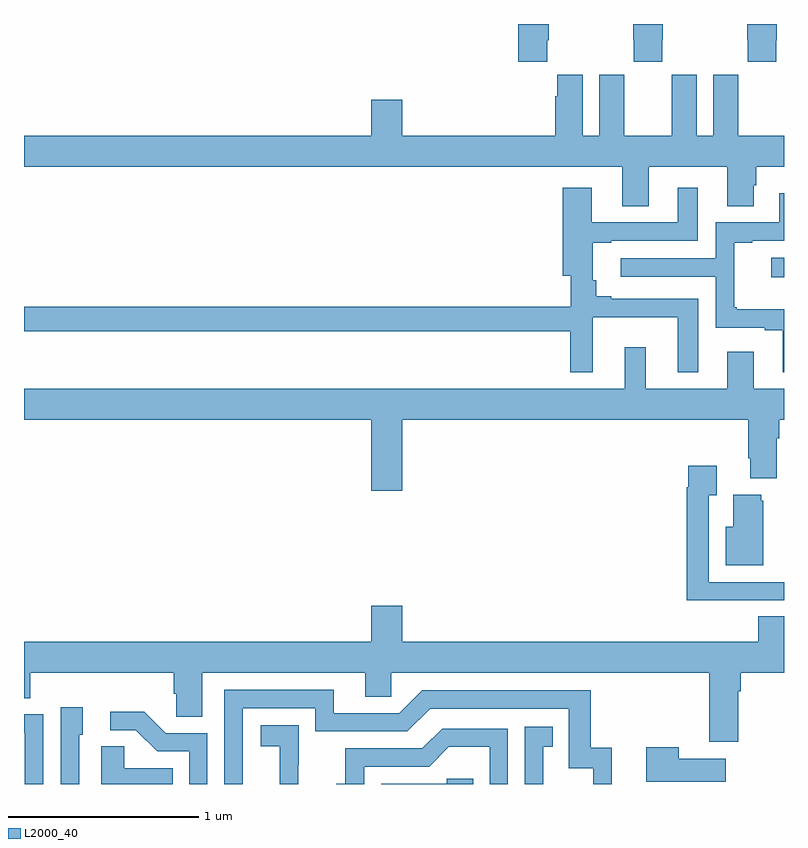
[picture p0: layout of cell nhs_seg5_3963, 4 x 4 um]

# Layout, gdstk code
import gdstk
lib = gdstk.Library(unit=1e-6, precision=1e-09)
def R(c, l, rs):  # rectangles x0, y0, x1, y1
    for r in rs: c.add(gdstk.rectangle(r[:2], r[2:], *l))
def P(c, l, *ps):  # polygons
    for p in ps: c.add(gdstk.Polygon(p, *l))
L2000_40 = (2000, 40)

nhs_seg5_3963 = lib.new_cell('nhs_seg5_3963')
R(nhs_seg5_3963, L2000_40, [(346.932,901.466,347,901.57)])
P(nhs_seg5_3963, L2000_40, [(345.755,902.713),(345.762,902.713),(345.762,902.799),(345.602,902.799),(345.602,902.601),(345.755,902.601)],
  [(346.359,902.713),(346.362,902.713),(346.362,902.799),(346.207,902.799),(346.207,902.713),(346.209,902.713),(346.209,902.601),(346.359,902.601)],
  [(346.959,902.713),(346.962,902.713),(346.962,902.799),(346.807,902.799),(346.807,902.713),(346.809,902.713),(346.809,902.601),(346.959,902.601)],
  [(346.148,901.84),(346.288,901.84),(346.288,902.048),(346.7,902.048),(346.7,901.84),(346.84,901.84),(346.84,901.95),(346.853,901.95),(346.853,902.048),(347,902.048),(347,902.212),(346.759,902.212),(346.759,902.42),(346.758,902.42),(346.758,902.533),(346.628,902.533),(346.628,902.212),(346.54,902.212),(346.54,902.533),(346.41,902.533),(346.41,902.42),(346.409,902.42),(346.409,902.212),(346.159,902.212),(346.159,902.42),(346.158,902.42),(346.158,902.533),(346.028,902.533),(346.028,902.212),(345.94,902.212),(345.94,902.533),(345.806,902.533),(345.806,902.42),(345.797,902.42),(345.797,902.212),(344.992,902.212),(344.992,902.401),(344.828,902.401),(344.828,902.212),(343,902.212),(343,902.048),(346.148,902.048)],
  [(345.994,901.256),(346.442,901.256),(346.442,900.965),(346.549,900.965),(346.549,901.353),(346.09,901.353),(346.09,901.366),(346.012,901.366),(346.012,901.45),(345.994,901.45),(345.994,901.647),(346.09,901.647),(346.09,901.659),(346.546,901.659),(346.546,901.936),(346.442,901.936),(346.442,901.755),(345.988,901.755),(345.988,901.936),(345.836,901.936),(345.836,901.475),(345.878,901.475),(345.878,901.31),(343,901.31),(343,901.182),(345.876,901.182),(345.876,900.965),(345.994,900.965)],
  [(347,901.297),(346.75,901.297),(346.75,901.309),(346.739,901.309),(346.739,901.647),(346.834,901.647),(346.834,901.659),(347,901.659),(347,901.909),(346.976,901.909),(346.976,901.755),(346.641,901.755),(346.641,901.566),(346.14,901.566),(346.14,901.47),(346.641,901.47),(346.641,901.2),(346.898,901.2),(346.898,901.188),(346.994,901.188),(346.994,900.965),(347,900.965)],
  [(344.992,900.716),(346.811,900.716),(346.811,900.514),(346.823,900.514),(346.823,900.407),(346.963,900.407),(346.963,900.62),(346.976,900.62),(346.976,900.716),(347,900.716),(347,900.88),(346.84,900.88),(346.84,901.075),(346.7,901.075),(346.7,900.88),(346.273,900.88),(346.273,901.099),(346.163,901.099),(346.163,900.88),(343,900.88),(343,900.716),(344.828,900.716),(344.828,900.342),(344.992,900.342)],
  [(346.781,899.766),(347,899.766),(347,899.862),(346.605,899.862),(346.605,900.319),(346.645,900.319),(346.645,900.475),(346.497,900.475),(346.497,900.362),(346.489,900.362),(346.489,899.765),(346.781,899.765)],
  [(346.891,900.291),(346.88,900.291),(346.88,900.322),(346.733,900.322),(346.733,900.154),(346.694,900.154),(346.694,899.951),(346.891,899.951)],
  [(343,899.251),(343.034,899.251),(343.034,899.384),(343.787,899.384),(343.787,899.275),(343.8,899.275),(343.8,899.152),(343.939,899.152),(343.939,899.384),(344.795,899.384),(344.795,899.257),(344.934,899.257),(344.934,899.384),(346.607,899.384),(346.607,899.022),(346.759,899.022),(346.759,899.288),(346.772,899.288),(346.772,899.384),(347,899.384),(347,899.681),(346.865,899.681),(346.865,899.548),(344.992,899.548),(344.992,899.737),(344.828,899.737),(344.828,899.548),(343,899.548)],
  [(344.151,899.199),(344.532,899.199),(344.532,899.076),(345.018,899.076),(345.138,899.196),(345.867,899.196),(345.867,898.881),(345.996,898.881),(345.996,898.799),(346.094,898.799),(346.094,898.99),(345.983,898.99),(345.983,899.292),(345.096,899.292),(344.976,899.172),(344.629,899.172),(344.629,899.295),(344.055,899.295),(344.055,898.799),(344.151,898.799)],
  [(343.29,899.058),(343.309,899.058),(343.309,899.203),(343.194,899.203),(343.194,898.799),(343.29,898.799)],
  [(343.965,899.067),(343.746,899.067),(343.633,899.18),(343.455,899.18),(343.455,899.082),(343.589,899.082),(343.7,898.971),(343.869,898.971),(343.869,898.799),(343.965,898.799)],
  [(343.101,899.166),(343,899.166),(343,899.07),(343.005,899.07),(343.005,898.799),(343.101,898.799)],
  [(344.444,898.901),(344.445,898.901),(344.445,899.107),(344.247,899.107),(344.247,898.997),(344.345,898.997),(344.345,898.799),(344.444,898.799)],
  [(345.733,898.995),(345.782,898.995),(345.782,899.101),(345.636,899.101),(345.636,898.799),(345.733,898.799)],
  [(344.79,898.89),(345.132,898.89),(345.236,898.994),(345.45,898.994),(345.45,898.799),(345.546,898.799),(345.546,899.091),(345.2,899.091),(345.095,898.986),(344.692,898.986),(344.692,898.801),(344.643,898.801),(344.643,898.799),(344.79,898.799)],
  [(343.784,898.882),(343.527,898.882),(343.527,898.997),(343.406,898.997),(343.406,898.799),(343.784,898.799)],
  [(346.693,898.933),(346.445,898.933),(346.445,898.993),(346.274,898.993),(346.274,898.811),(346.693,898.811)],
  [(345.365,898.827),(345.225,898.827),(345.225,898.8),(344.88,898.8),(344.88,898.799),(345.365,898.799)])

lib.write_gds('nhs_seg5_3963.gds')
